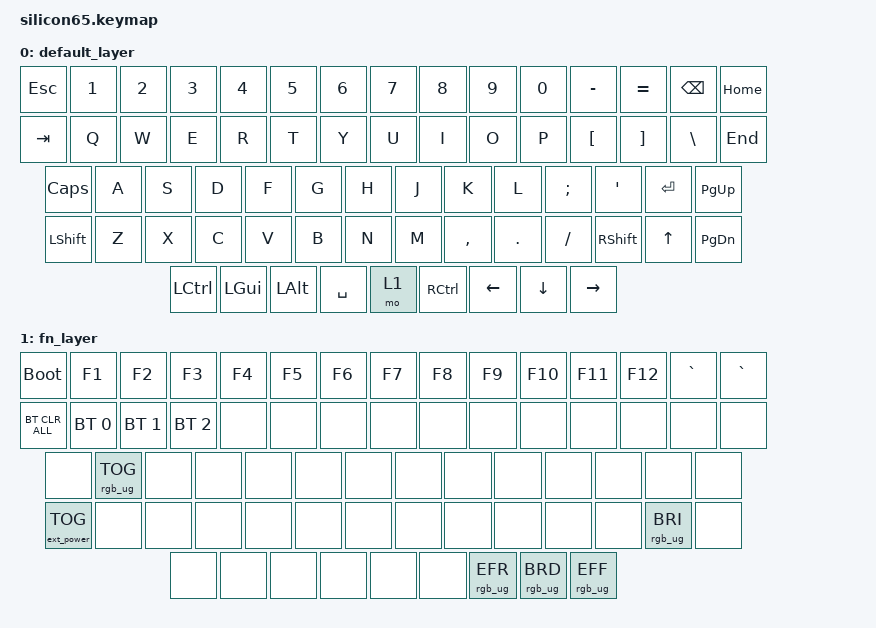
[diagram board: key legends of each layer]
/*
 * Copyright (c) 2020 The ZMK Contributors
 *
 * SPDX-License-Identifier: MIT
 */

#include <behaviors.dtsi>
#include <dt-bindings/zmk/keys.h>
#include <dt-bindings/zmk/rgb.h>
#include <dt-bindings/zmk/bt.h>
#include <dt-bindings/zmk/outputs.h>
#include <dt-bindings/zmk/ext_power.h>


/ {
keymap0: keymap {
  compatible = "zmk,keymap";

  default_layer {
          bindings = <
          &kp ESC  &kp N1  &kp N2  &kp N3  &kp N4  &kp N5  &kp N6  &kp N7  &kp N8  &kp N9  &kp N0  &kp MINUS  &kp EQUAL      &kp BSPC     &kp HOME
          &kp TAB     &kp Q   &kp W   &kp E   &kp R   &kp T   &kp Y   &kp U   &kp I   &kp O   &kp P   &kp LBKT   &kp RBKT    &kp BSLH     &kp END
          &kp CAPS      &kp A   &kp S   &kp D   &kp F   &kp G   &kp H   &kp J   &kp K   &kp L   &kp SEMI  &kp SQT            &kp RET      &kp PG_UP
          &kp LSHFT        &kp Z   &kp X   &kp C   &kp V   &kp B   &kp N   &kp M   &kp COMMA  &kp DOT  &kp FSLH     &kp RSHFT   &kp UP    &kp PG_DN
          &kp LCTRL  &kp LGUI  &kp LALT                &kp SPACE                               &mo 1   &kp RCTRL     &kp LEFT   &kp DOWN  &kp RIGHT
          >;
  };

  fn_layer {
    bindings = <
    &bootloader     &kp F1    &kp F2    &kp F3    &kp F4  &kp F5  &kp F6  &kp F7  &kp F8   &kp F9  &kp F10  &kp F11  &kp F12   &kp GRAVE   &kp GRAVE
    &bt BT_CLR_ALL  &bt BT_SEL 0   &bt BT_SEL 1   &bt BT_SEL 2   &none   &none   &none   &none   &none    &none   &none    &none    &none     &none       &none
    &none           &rgb_ug RGB_TOG   &none        &none          &none   &none   &none   &none   &none    &none   &none    &none              &none       &none
    &ext_power EP_TOG     &none        &none        &none          &none   &none   &none   &none   &none    &none   &none    &none    &rgb_ug RGB_BRI   &none
    &none  &none  &none                           &none                                               &none   &none     &rgb_ug RGB_EFR   &rgb_ug RGB_BRD   &rgb_ug RGB_EFF
    >;
};
};
};
